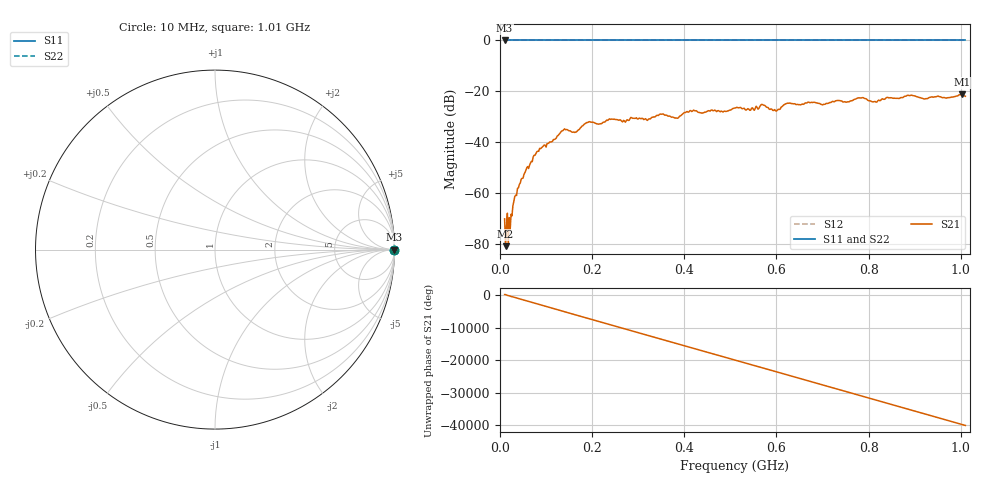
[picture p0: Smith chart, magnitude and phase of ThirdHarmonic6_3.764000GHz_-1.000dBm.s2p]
! 8/17/2025 12:56:26 PM
! C:\ANRITSUVNA\TEMP\TEMP.S2P
! CHANNEL.1
! TR.MEASUREMENT
! RAW.DATA
! RF.CORRECTION.OFF
! AVERAGING.OFF
! IF.BANDWIDTH: 5KHZ
! SWEEPTYPE:  FREQ.SWEEP(Linear)
! Reference Plane Port Info
! PORT:  PORT1  PORT2
! DISTANCE:  0  m  0  m
! TIME:  0  s  0  s
! PHASE.OFFSET:  0  deg.  0  deg.
! LOSS:  0  dB  0  dB
! REF.LOSS:  0  dB  0  dB
! REF.FREQ:  0  Hz  0  Hz
! Power Info
! POWER:  -20  dBm  -20  dBm
! EFF.POWER:  -20  dBm  -20  dBm
! SOURCE.ATTEN:  0  dB  0  dB
! TEST.ATTEN:  0  dB  0  dB
# GHZ S RI R 50.0
! FREQ.GHZ  S11RE  S11IM  S21RE  S21IM  S12RE  S12IM  S22RE  S22IM
!; PortSelection: Port_12
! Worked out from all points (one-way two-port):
!   501 points, 10 MHz to 1.01 GHz, reference 50 ohm
!   highest |S21| = -21.23 dB at 1.002 GHz (marker M1); lowest = -80.9 dB at 12 MHz (marker M2)
!   lowest |S11| = 0.0 dB at 10 MHz (marker M3)
!   |S11| at or under -10 dB: nowhere
!   |S22| runs from 0.0 to 0.0 dB; largest |S21 - S12| = 1.1
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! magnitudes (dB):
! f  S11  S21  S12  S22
! 10 MHz  0.0  -70.2  0.0  0.0
! 12 MHz  0.0  -80.9  0.0  0.0
! 14 MHz  0.0  -73.5  0.0  0.0
! 22 MHz  0.0  -74.7  0.0  0.0
! 28 MHz  0.0  -65.0  0.0  0.0
! 42 MHz  0.0  -56.6  0.0  0.0
! 76 MHz  0.0  -45.1  0.0  0.0
! 136 MHz  0.0  -35.5  0.0  0.0
! 162 MHz  0.0  -36.2  0.0  0.0
! 178 MHz  0.0  -33.7  0.0  0.0
! 344 MHz  0.0  -29.5  0.0  0.0
! 384 MHz  0.0  -30.6  0.0  0.0
! 416 MHz  0.0  -27.9  0.0  0.0
! 510 MHz  0.0  -26.5  0.0  0.0
! 570 MHz  0.0  -25.2  0.0  0.0
! 598 MHz  0.0  -27.7  0.0  0.0
! 624 MHz  0.0  -24.7  0.0  0.0
! 678 MHz  0.0  -24.4  0.0  0.0
! 814 MHz  0.0  -24.0  0.0  0.0
! 844 MHz  0.0  -22.6  0.0  0.0
! 1.002 GHz  0.0  -21.2  0.0  0.0
! 1.01 GHz  0.0  -22.0  0.0  0.0
